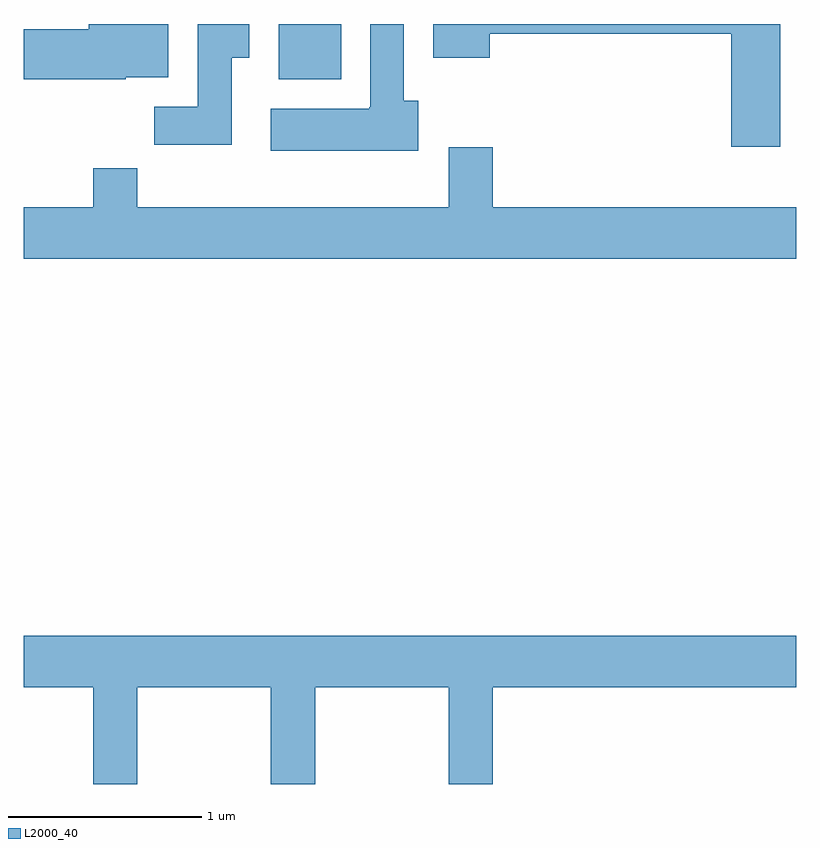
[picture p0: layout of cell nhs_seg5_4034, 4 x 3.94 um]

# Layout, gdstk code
import gdstk
lib = gdstk.Library(unit=1e-6, precision=1e-09)
def R(c, l, rs):  # rectangles x0, y0, x1, y1
    for r in rs: c.add(gdstk.rectangle(r[:2], r[2:], *l))
def P(c, l, *ps):  # polygons
    for p in ps: c.add(gdstk.Polygon(p, *l))
L2000_40 = (2000, 40)

nhs_seg5_4034 = lib.new_cell('nhs_seg5_4034')
R(nhs_seg5_4034, L2000_40, [(306.931,1397.786,307.254,1398.072)])
P(nhs_seg5_4034, L2000_40, [(309.529,1398.072),(307.731,1398.072),(307.731,1397.896),(308.024,1397.896),(308.024,1398.021),(309.276,1398.021),(309.276,1397.436),(309.529,1397.436)],
  [(307.654,1397.674),(307.579,1397.674),(307.579,1398.072),(307.406,1398.072),(307.406,1397.64),(307.4,1397.64),(307.4,1397.634),(306.891,1397.634),(306.891,1397.416),(307.654,1397.416)],
  [(306.689,1397.896),(306.779,1397.896),(306.779,1398.072),(306.511,1398.072),(306.511,1397.644),(306.286,1397.644),(306.286,1397.446),(306.689,1397.446)],
  [(306.14,1397.796),(306.359,1397.796),(306.359,1398.072),(305.946,1398.072),(305.946,1398.044),(305.611,1398.044),(305.611,1397.786),(306.14,1397.786)],
  [(309.611,1397.124),(308.039,1397.124),(308.039,1397.434),(307.811,1397.434),(307.811,1397.124),(306.199,1397.124),(306.199,1397.324),(305.971,1397.324),(305.971,1397.124),(305.611,1397.124),(305.611,1396.856),(309.611,1396.856)],
  [(306.199,1394.636),(306.891,1394.636),(306.891,1394.136),(307.119,1394.136),(307.119,1394.636),(307.811,1394.636),(307.811,1394.136),(308.039,1394.136),(308.039,1394.636),(309.611,1394.636),(309.611,1394.904),(305.611,1394.904),(305.611,1394.636),(305.971,1394.636),(305.971,1394.136),(306.199,1394.136)])

lib.write_gds('nhs_seg5_4034.gds')
